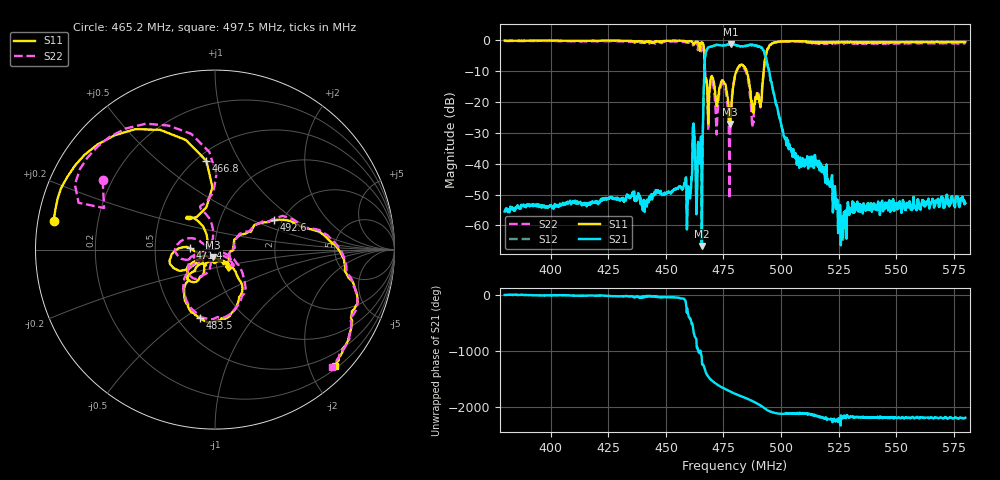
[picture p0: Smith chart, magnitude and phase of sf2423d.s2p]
# Hz S RI R 50
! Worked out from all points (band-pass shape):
!   1601 points, 380 MHz to 580 MHz, reference 50 ohm
!   highest |S21| = -1.24 dB at 478.2 MHz (marker M1); lowest = -66.6 dB at 465.6 MHz (marker M2)
!   |S21| within 3 dB of the highest: 467.2 MHz to 492.8 MHz (25.62 MHz wide, 5.34 % of centre)
!   lowest |S11| = -27.1 dB at 477.8 MHz (marker M3), VSWR 1.09, Z = 48.6 - j4.12 ohm
!   |S11| at or under -10 dB: 466.9 MHz to 480.7 MHz (13.77 MHz wide, 2.91 % of centre); 485 MHz to 492.4 MHz (7.393 MHz wide, 1.51 % of centre)
!   |S22| runs from -51.4 to -0.2 dB; largest |S21 - S12| = 0.0055
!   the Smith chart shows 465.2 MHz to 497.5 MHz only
!   S11 on the Smith chart (normalised r, x): 465.2 MHz: 0.05, +0.09; 466.8 MHz: 0.56, +0.74; 471.4 MHz: 0.75, +0.01; 483.5 MHz: 0.65, -0.58; 492.6 MHz: 1.81, +0.69; 497.5 MHz: 0.25, -2.46
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3.8e8  -0.069 -0.982  0.00167 -0.000173  0.00178 -0.000134  -0.1378 -0.961
4.13375e8  -0.2671 -0.9453  0.00202 -0.000764  0.00209 -0.000848  -0.3298 -0.8948
4.4675e8  -0.5696 -0.7735  0.0025 -0.00236  0.00258 -0.00233  -0.6089 -0.7142
4.6e8  -0.876 -0.4101  0.00261 -0.00216  0.00255 -0.00217  -0.872 -0.2822
4.61875e8  -0.8529 -0.1932  -0.00578 0.0406  -0.00598 0.0406  -0.8356 -0.1409
4.6525e8  -0.8993 0.1606  0.0207 0.018  0.0207 0.0179  -0.6261 0.3866
4.65625e8  -0.8582 0.3409  7.7e-05 -0.00046  5.88e-05 -0.000458  -0.7805 0.3629
4.6675e8  -0.0476 0.4938  -0.257 0.2702  -0.2566 0.2704  -0.0321 0.5449
4.685e8  -0.0599 -0.032  0.694 -0.3291  0.6959 -0.3294  -0.0448 -0.00515
4.71375e8  -0.1413 0.00858  -0.566 -0.5993  -0.5658 -0.5969  -0.0842 0.0473
4.73875e8  -0.1021 -0.1771  -0.7791 0.2721  -0.7797 0.2726  -0.0912 -0.1605
4.7775e8  -0.0121 -0.0422  0.1297 0.8522  0.1294 0.8524  0.0152 -0.00467
4.7825e8  0.0345 -0.0566  0.2801 0.8207  0.2807 0.8197  0.0661 -0.0277
4.8e8  0.1533 -0.2178  0.6689 0.5131  0.6682 0.515  0.1701 -0.2082
4.835e8  -0.0821 -0.379  0.7386 -0.2773  0.74 -0.2763  -0.101 -0.3534
4.87875e8  -0.00202 -0.0757  -0.1456 -0.8142  -0.1464 -0.8156  0.0171 -0.0458
4.92625e8  0.3273 0.1645  -0.551 0.3856  -0.5461 0.385  0.3221 0.1696
4.975e8  0.67 -0.6458  0.0627 0.0848  0.0623 0.0851  0.6546 -0.6559
5.13375e8  0.024 -0.9111  0.0109 0.00731  0.0109 0.00723  -0.0295 -0.8949
5.2675e8  -0.1096 -0.933  0.00106 -0.000947  0.00105 -0.000821  -0.1581 -0.8969
5.4675e8  -0.2268 -0.8895  0.00192 -0.000784  0.0019 -0.000745  -0.2766 -0.8322
5.8e8  -0.3864 -0.8462  0.002 -0.00113  0.00187 -0.00121  -0.432 -0.7804
